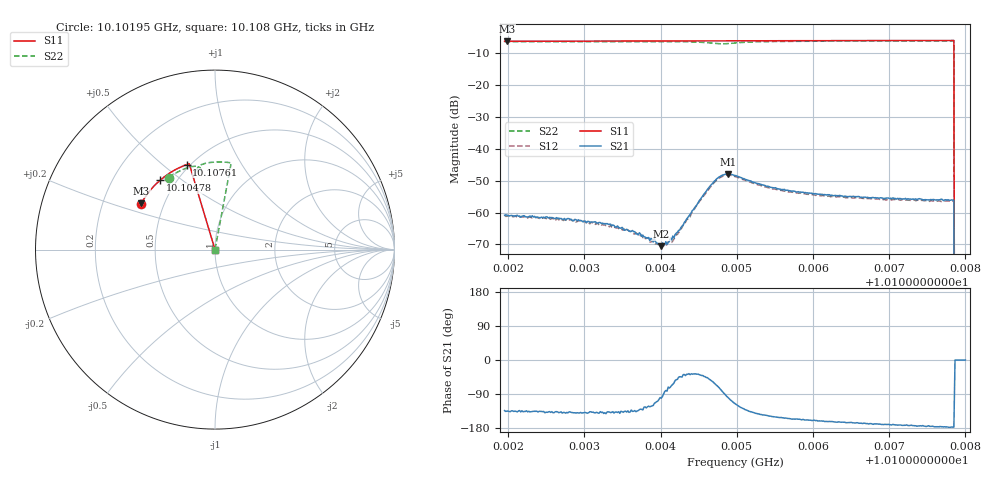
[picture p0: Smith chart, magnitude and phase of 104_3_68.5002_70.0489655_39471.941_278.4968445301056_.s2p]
#  HZ  S  RI  R  50.00
! Rohde & Schwarz Vector Network Analyzer
! Rohde-Schwarz,ZNB20-2Port,1311601062101988,3.16
! Created: UTC 3/20/2024, 5:08:20 PM
! freq[Hz]  re:S11  im:S11  re:S21  im:S21  re:S12  im:S12  re:S22  im:S22
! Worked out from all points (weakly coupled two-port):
!   401 points, 10.10195 GHz to 10.108 GHz, reference 50 ohm
!   highest |S21| = -47.88 dB at 10.10489 GHz (marker M1); lowest = -70.5 dB at 10.10401 GHz (marker M2)
!   lowest |S11| = -6.3 dB at 10.10198 GHz (marker M3), VSWR 2.88, Z = 18.6 + j12.5 ohm
!   |S11| at or under -10 dB: 10.10785 GHz to end of sweep
!   |S22| runs from - to -6.2 dB; largest |S21 - S12| = 0.00042
!   S11 on the Smith chart (normalised r, x): 10.10195 GHz: 0.37, +0.25; 10.10478 GHz: 0.41, +0.42; 10.10761 GHz: 0.48, +0.61; 10.108 GHz: 1.00, +0.00
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1.0101952e10  -0.4122 0.2553  -0.000627 -0.000659  -0.000584 -0.000703  -0.2584 0.4011
1.0101983e10  -0.4111 0.2569  -0.000643 -0.000649  -0.00055 -0.000685  -0.2568 0.4023
1.0102966e10  -0.3789 0.3071  -0.000565 -0.000477  -0.00052 -0.000515  -0.2016 0.4354
1.0103359e10  -0.3644 0.3261  -0.000465 -0.000418  -0.000417 -0.000419  -0.1775 0.4467
1.0103586e10  -0.3554 0.3368  -0.000387 -0.000346  -0.000353 -0.00037  -0.1631 0.4524
1.0103979e10  -0.3394 0.3545  -7.6e-05 -0.000305  -4.99e-05 -0.000318  -0.136 0.4611
1.0104009e10  -0.3382 0.3557  -5.57e-05 -0.000292  -7.23e-06 -0.000308  -0.1338 0.4617
1.0104085e10  -0.335 0.3591  4.42e-05 -0.000314  0.000109 -0.0003  -0.128 0.4628
1.010416e10  -0.3317 0.3623  0.000186 -0.000385  0.000198 -0.0003  -0.1221 0.4638
1.0104266e10  -0.3271 0.3668  0.000414 -0.000408  0.000432 -0.000345  -0.1133 0.4647
1.0104538e10  -0.315 0.3781  0.00131 -0.00113  0.00134 -0.000952  -0.0881 0.4592
1.0104675e10  -0.309 0.3835  0.00159 -0.00231  0.00172 -0.00209  -0.0791 0.4474
1.010478e10  -0.3041 0.3876  0.000878 -0.00358  0.00114 -0.00335  -0.083 0.4359
1.0104886e10  -0.2993 0.3917  -0.000636 -0.00399  -0.000286 -0.00386  -0.0945 0.4362
1.0104977e10  -0.2951 0.3953  -0.00162 -0.00345  -0.00129 -0.00343  -0.0989 0.4452
1.0105446e10  -0.2726 0.4127  -0.00212 -0.00132  -0.00194 -0.00143  -0.0706 0.4753
1.010599e10  -0.2452 0.431  -0.00189 -0.000689  -0.00173 -0.000825  -0.0317 0.4849
1.0107003e10  -0.1913 0.4601  -0.00163 -0.000275  -0.00154 -0.0004  0.0359 0.4884
1.0107608e10  -0.1576 0.474  -0.00157 -0.000108  -0.00149 -0.000254  0.0751 0.4854
1.010782e10  -0.1454 0.4781  -0.00158 -9.25e-05  -0.0015 -0.000212  0.0887 0.4837
1.0107896e10  0 0  0 0  0 0  0 0
1.0108002e10  0 0  0 0  0 0  0 0
